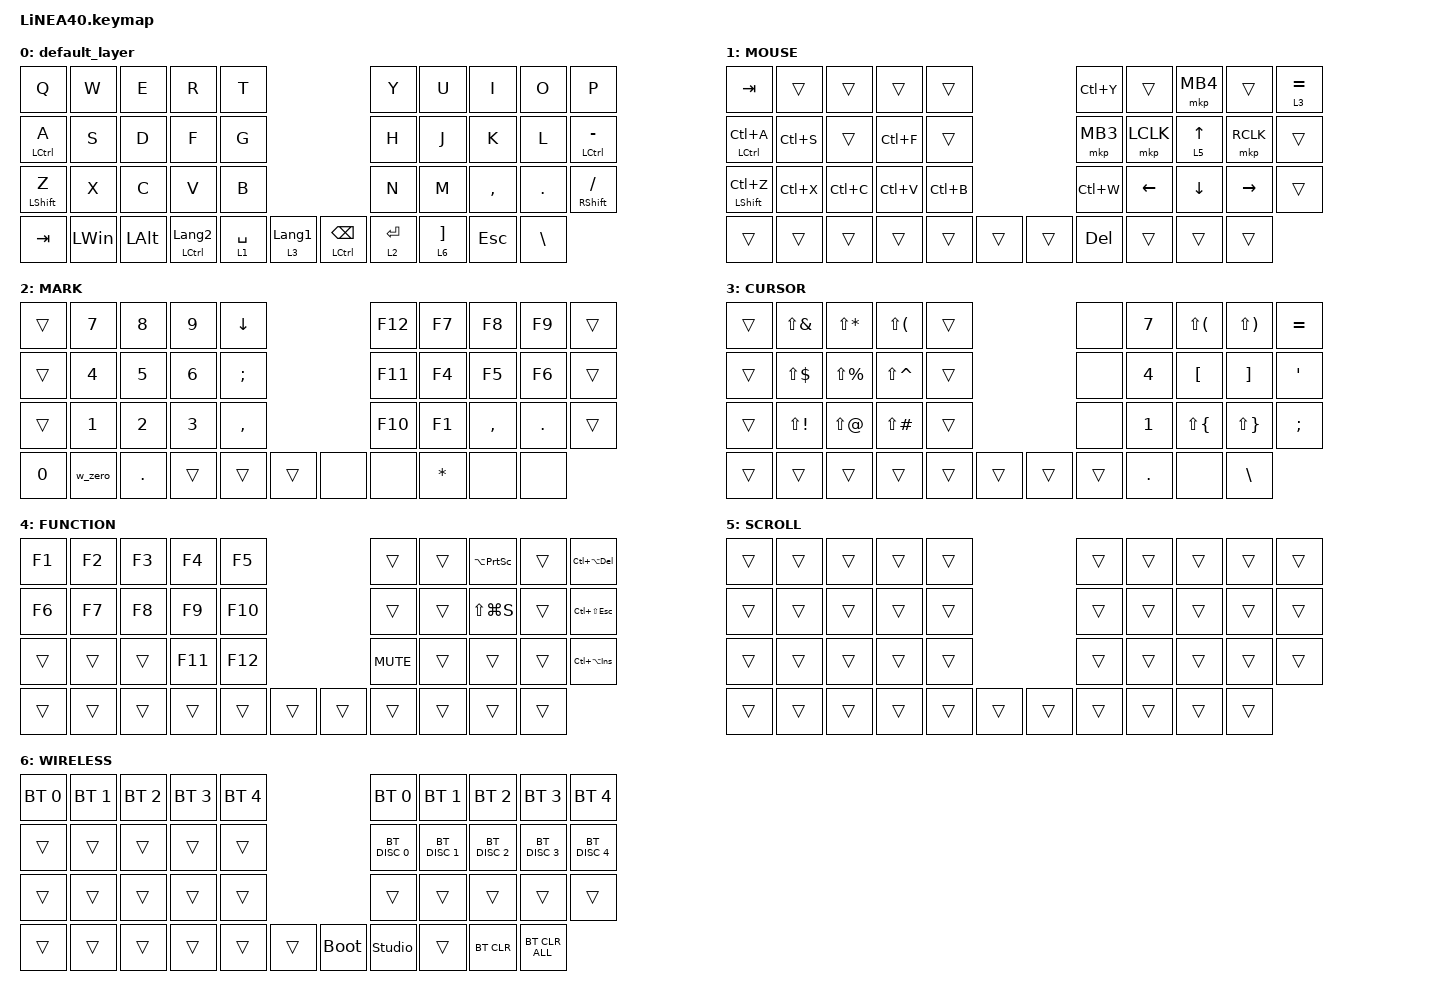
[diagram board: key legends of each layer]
#define ZMK_POINTING_DEFAULT_SCRL_VAL 150

#include <dt-bindings/zmk/input_transform.h>
#include <input/processors.dtsi>
#include <zephyr/dt-bindings/input/input-event-codes.h>
#include <behaviors.dtsi>
#include <dt-bindings/zmk/bt.h>
#include <dt-bindings/zmk/keys.h>
#include <dt-bindings/zmk/pointing.h>

#define MOUSE 1
#define MARK 2
#define CURSOR 3
#define FUNCTION 4
#define SCROLL 5
#define WIRELESS 6

//mouse cursol

&mmv {
    delay-ms = <20>;
    trigger-period-ms = <5>;
    time-to-max-speed-ms = <100>;
    acceleration-exponent = <2>;
};

//mouse scroll

&msc {
    delay-ms = <3>;
    trigger-period-ms = <3>;
    time-to-max-speed-ms = <100>;
    acceleration-exponent = <0>;
};

/ {
    input_processors {
        zip_wheel_scaler: zip_wheel_scaler {
            compatible = "zmk,input-processor-scaler";
            #input-processor-cells = <2>;
            type = <INPUT_EV_REL>;
            codes = <INPUT_REL_WHEEL>;
            track-remainders;
        };

        y_to_scroll_mapper: y_to_scroll_mapper {
            compatible = "zmk,input-processor-code-mapper";
            #input-processor-cells = <0>;
            type = <INPUT_EV_REL>;
            map = <INPUT_REL_Y INPUT_REL_WHEEL>;
        };
    };
};

&msc_input_listener {
    speed_up {
        layers = <FUNCTION>;
        input-processors = <&zip_wheel_scaler 1 1>; //スクロールを等倍にする
    };
};

&trackball_listener {
    scroller {
        layers = <SCROLL>;
        input-processors =
            <&zip_xy_transform INPUT_TRANSFORM_Y_INVERT>,
            //スクロール方向を逆転,,,,,
            <&y_to_scroll_mapper>,
            <&zip_wheel_scaler 1 3>;
    };
};

/ {
    combos {
        compatible = "zmk,combos";

        ZenkakuHankaku {
            bindings = <&kp GRAVE>;
            key-positions = <11 12>;
        };

        DeleteKey {
            bindings = <&kp DEL>;
            key-positions = <7 8>;
        };

        InsertKey {
            bindings = <&kp INS>;
            key-positions = <6 7>;
        };

        CenterClick {
            bindings = <&mkp MB3>;
            key-positions = <17 16>;
        };

        RightClick {
            bindings = <&mkp MB2>;
            key-positions = <18 17>;
        };

        PrevClick {
            bindings = <&mkp MB4>;
            key-positions = <27 28>;
        };

        ClickNext {
            bindings = <&mkp MB5>;
            key-positions = <26 27>;
        };
    };

    behaviors {
        re_kp: sensor_rotate_kp {
            compatible = "zmk,behavior-sensor-rotate-var";
            #sensor-binding-cells = <2>;
            bindings = <&kp>, <&kp>;
        };

        mouse_scrl: mouse_wheel_scrl {
            compatible = "zmk,behavior-sensor-rotate-var";
            #sensor-binding-cells = <2>;
            bindings = <&msc>, <&msc>;

            tap-ms = <20>;
        };

        tap_preferred: tap_preferred {
            compatible = "zmk,behavior-hold-tap";
            label = "TAP_PREFERRED";
            bindings = <&kp>, <&kp>;

            #binding-cells = <2>;
            tapping-term-ms = <220>;
            quick-tap-ms = <175>;
            flavor = "tap-preferred";
        };
    };

    macros {
        w_zero: w_zero {
            compatible = "zmk,behavior-macro";
            #binding-cells = <0>;
            bindings = <&kp NUMBER_0 &kp NUMBER_0>;
            label = "W_ZERO";
        };
    };

    keymap {
        compatible = "zmk,keymap";

        default_layer {
            bindings = <
&kp Q                        &kp W         &kp E         &kp R                        &kp T                                                        &kp Y        &kp U  &kp I                &kp O       &kp P
&tap_preferred LCTRL A       &kp S         &kp D         &kp F                        &kp G                                                        &kp H        &kp J  &kp K                &kp L       &mt LEFT_CONTROL MINUS
&tap_preferred LEFT_SHIFT Z  &kp X         &kp C         &kp V                        &kp B                                                        &kp N        &kp M  &kp COMMA            &kp DOT     &mt RIGHT_SHIFT SLASH
&kp TAB                      &kp LEFT_WIN  &kp LEFT_ALT  &mt LEFT_CONTROL LANGUAGE_2  &lt 1 SPACE  &lt 3 LANGUAGE_1    &mt LEFT_CONTROL BACKSPACE  &lt 2 ENTER         &lt 6 RIGHT_BRACKET  &kp ESCAPE  &kp BACKSLASH
            >;
        };

        //1

        MOUSE {
            bindings = <
&kp TAB                 &trans     &trans     &trans     &trans                       &kp LC(Y)   &trans     &mkp MB4        &trans     &lt 3 EQUAL
&mt LEFT_CONTROL LC(A)  &kp LC(S)  &trans     &kp LC(F)  &trans                       &mkp MB3    &mkp LCLK  &lt 5 UP_ARROW  &mkp RCLK  &trans
&mt LSHIFT LC(Z)        &kp LC(X)  &kp LC(C)  &kp LC(V)  &kp LC(B)                    &kp LC(W)   &kp LEFT   &kp DOWN        &kp RIGHT  &trans
&trans                  &trans     &trans     &trans     &trans     &trans    &trans  &kp DELETE             &trans          &trans     &trans
            >;
        };

        //2

        MARK {
            bindings = <
&trans  &kp N7   &kp N8      &kp N9  &kp DOWN                        &kp F12  &kp F7  &kp F8        &kp F9   &trans
&trans  &kp N4   &kp N5      &kp N6  &kp SEMICOLON                   &kp F11  &kp F4  &kp F5        &kp F6   &trans
&trans  &kp N1   &kp N2      &kp N3  &kp COMMA                       &kp F10  &kp F1  &kp COMMA     &kp DOT  &trans
&kp N0  &w_zero  &kp PERIOD  &trans  &trans         &trans    &none  &none            &kp ASTERISK  &none    &none
            >;
        };

        //3

        CURSOR {
            bindings = <
&trans  &kp LS(AMPS)  &kp LS(STAR)   &kp LS(LPAR)   &trans                    &none   &kp NUMBER_7  &kp LS(LPAR)  &kp LS(RPAR)  &kp EQUAL
&trans  &kp LS(DLLR)  &kp LS(PRCNT)  &kp LS(CARET)  &trans                    &none   &kp NUMBER_4  &kp LBKT      &kp RBKT      &kp SQT
&trans  &kp LS(EXCL)  &kp LS(AT)     &kp LS(POUND)  &trans                    &none   &kp NUMBER_1  &kp LS(LBRC)  &kp LS(RBRC)  &kp SEMI
&trans  &trans        &trans         &trans         &trans  &trans    &trans  &trans                &kp DOT       &none         &kp BSLH
            >;
        };

        //4

        FUNCTION {
            bindings = <
&kp F1  &kp F2  &kp F3  &kp F4   &kp F5                     &trans      &trans  &kp LA(PRINTSCREEN)  &trans  &kp LC(LA(DELETE))
&kp F6  &kp F7  &kp F8  &kp F9   &kp F10                    &trans      &trans  &kp LS(LG(S))        &trans  &kp LC(LS(ESCAPE))
&trans  &trans  &trans  &kp F11  &kp F12                    &kp C_MUTE  &trans  &trans               &trans  &kp LC(LA(INS))
&trans  &trans  &trans  &trans   &trans   &trans    &trans  &trans              &trans               &trans  &trans
            >;
        };

        //5

        SCROLL {
            bindings = <
&trans  &trans  &trans  &trans  &trans                    &trans  &trans  &trans  &trans  &trans
&trans  &trans  &trans  &trans  &trans                    &trans  &trans  &trans  &trans  &trans
&trans  &trans  &trans  &trans  &trans                    &trans  &trans  &trans  &trans  &trans
&trans  &trans  &trans  &trans  &trans  &trans    &trans  &trans          &trans  &trans  &trans
            >;
        };

        //6

        WIRELESS {
            bindings = <
&bt BT_SEL 0  &bt BT_SEL 1  &bt BT_SEL 2  &bt BT_SEL 3  &bt BT_SEL 4                         &bt BT_SEL 0    &bt BT_SEL 1   &bt BT_SEL 2   &bt BT_SEL 3   &bt BT_SEL 4
&trans        &trans        &trans        &trans        &trans                               &bt BT_DISC 0   &bt BT_DISC 1  &bt BT_DISC 2  &bt BT_DISC 3  &bt BT_DISC 4
&trans        &trans        &trans        &trans        &trans                               &trans          &trans         &trans         &trans         &trans
&trans        &trans        &trans        &trans        &trans        &trans    &bootloader  &studio_unlock                 &trans         &bt BT_CLR     &bt BT_CLR_ALL
            >;
        };
    };
};
